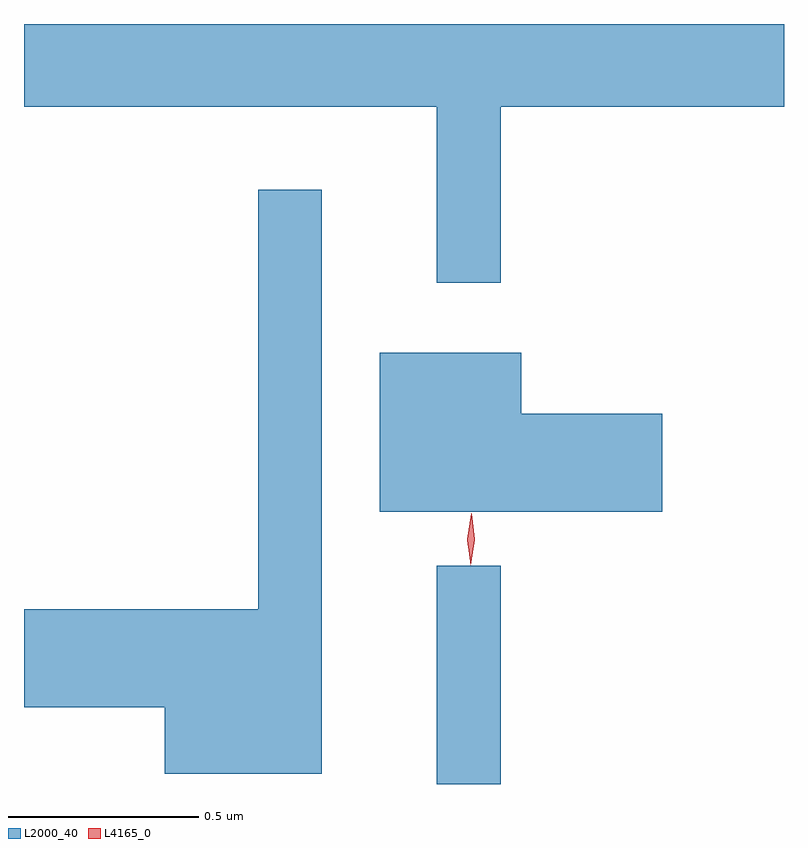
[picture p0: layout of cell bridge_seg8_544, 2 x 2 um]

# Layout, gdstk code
import gdstk
lib = gdstk.Library(unit=1e-6, precision=1e-09)
def R(c, l, rs):  # rectangles x0, y0, x1, y1
    for r in rs: c.add(gdstk.rectangle(r[:2], r[2:], *l))
def P(c, l, *ps):  # polygons
    for p in ps: c.add(gdstk.Polygon(p, *l))
L2000_40 = (2000, 40)
L4165_0 = (4165, 0)

bridge_seg8_544 = lib.new_cell('bridge_seg8_544')
R(bridge_seg8_544, L2000_40, [(313.691,1874.594,313.859,1875.168)])
P(bridge_seg8_544, L2000_40, [(313.859,1876.376),(314.605,1876.376),(314.605,1876.594),(312.605,1876.594),(312.605,1876.376),(313.691,1876.376),(313.691,1875.913),(313.859,1875.913)],
  [(313.389,1876.158),(313.221,1876.158),(313.221,1875.054),(312.606,1875.054),(312.606,1874.796),(312.976,1874.796),(312.976,1874.621),(313.389,1874.621)],
  [(314.284,1875.569),(313.914,1875.569),(313.914,1875.729),(313.541,1875.729),(313.541,1875.311),(314.284,1875.311)])
P(bridge_seg8_544, L4165_0, [(313.78,1875.17),(313.78,1875.17),(313.771,1875.238),(313.782,1875.305),(313.782,1875.306),(313.783,1875.305),(313.791,1875.238),(313.781,1875.17)],
  [(313.78,1875.173),(313.78,1875.174),(313.771,1875.236),(313.782,1875.299),(313.782,1875.3),(313.783,1875.299),(313.791,1875.236),(313.781,1875.174)])

lib.write_gds('bridge_seg8_544.gds')
